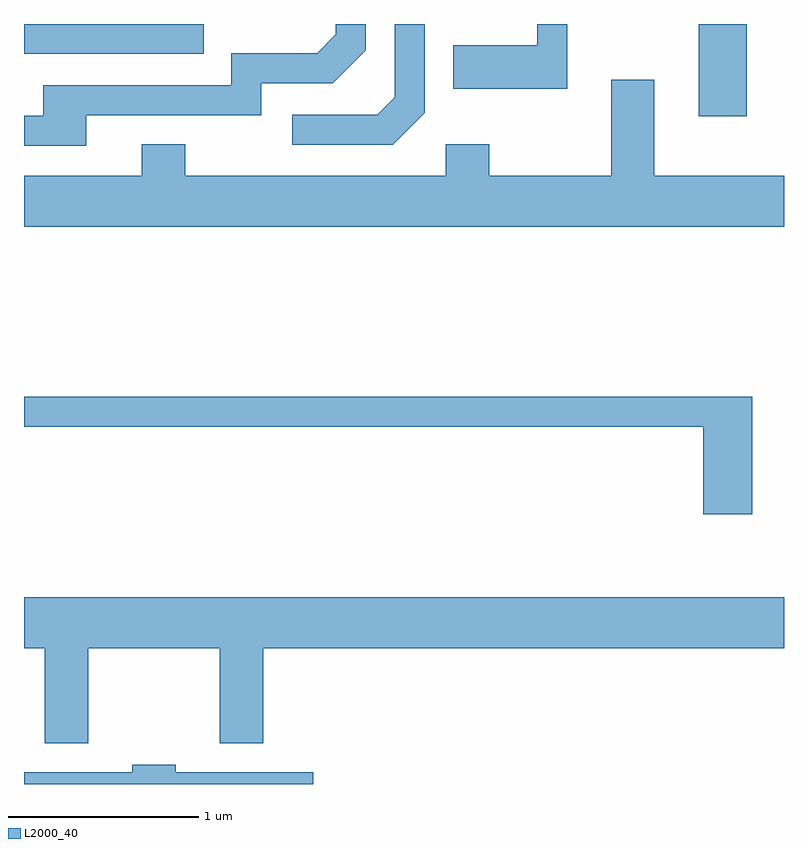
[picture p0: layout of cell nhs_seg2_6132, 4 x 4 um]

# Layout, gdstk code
import gdstk
lib = gdstk.Library(unit=1e-6, precision=1e-09)
def R(c, l, rs):  # rectangles x0, y0, x1, y1
    for r in rs: c.add(gdstk.rectangle(r[:2], r[2:], *l))
def P(c, l, *ps):  # polygons
    for p in ps: c.add(gdstk.Polygon(p, *l))
L2000_40 = (2000, 40)

nhs_seg2_6132 = lib.new_cell('nhs_seg2_6132')
R(nhs_seg2_6132, L2000_40, [(369.161,1073.316,369.414,1073.802), (365.611,1073.646,366.558,1073.802)])
P(nhs_seg2_6132, L2000_40, [(365.939,1073.321),(366.859,1073.321),(366.859,1073.491),(367.237,1073.491),(367.409,1073.664),(367.409,1073.802),(367.251,1073.802),(367.251,1073.747),(367.154,1073.649),(366.701,1073.649),(366.701,1073.479),(365.711,1073.479),(365.711,1073.319),(365.611,1073.319),(365.611,1073.161),(365.939,1073.161)],
  [(368.469,1073.802),(368.311,1073.802),(368.311,1073.689),(367.871,1073.689),(367.871,1073.461),(368.469,1073.461)],
  [(367.719,1073.334),(367.719,1073.802),(367.561,1073.802),(367.561,1073.417),(367.469,1073.324),(367.023,1073.324),(367.023,1073.166),(367.552,1073.166)],
  [(369.611,1073.004),(368.929,1073.004),(368.929,1073.509),(368.701,1073.509),(368.701,1073.004),(368.059,1073.004),(368.059,1073.169),(367.831,1073.169),(367.831,1073.004),(366.459,1073.004),(366.459,1073.169),(366.231,1073.169),(366.231,1073.004),(365.611,1073.004),(365.611,1072.736),(369.611,1072.736)],
  [(369.444,1071.839),(365.611,1071.839),(365.611,1071.681),(369.186,1071.681),(369.186,1071.221),(369.444,1071.221)],
  [(365.949,1070.516),(366.641,1070.516),(366.641,1070.016),(366.869,1070.016),(366.869,1070.516),(369.611,1070.516),(369.611,1070.784),(365.611,1070.784),(365.611,1070.516),(365.721,1070.516),(365.721,1070.016),(365.949,1070.016)],
  [(367.134,1069.864),(366.409,1069.864),(366.409,1069.904),(366.181,1069.904),(366.181,1069.864),(365.611,1069.864),(365.611,1069.802),(367.134,1069.802)])

lib.write_gds('nhs_seg2_6132.gds')
